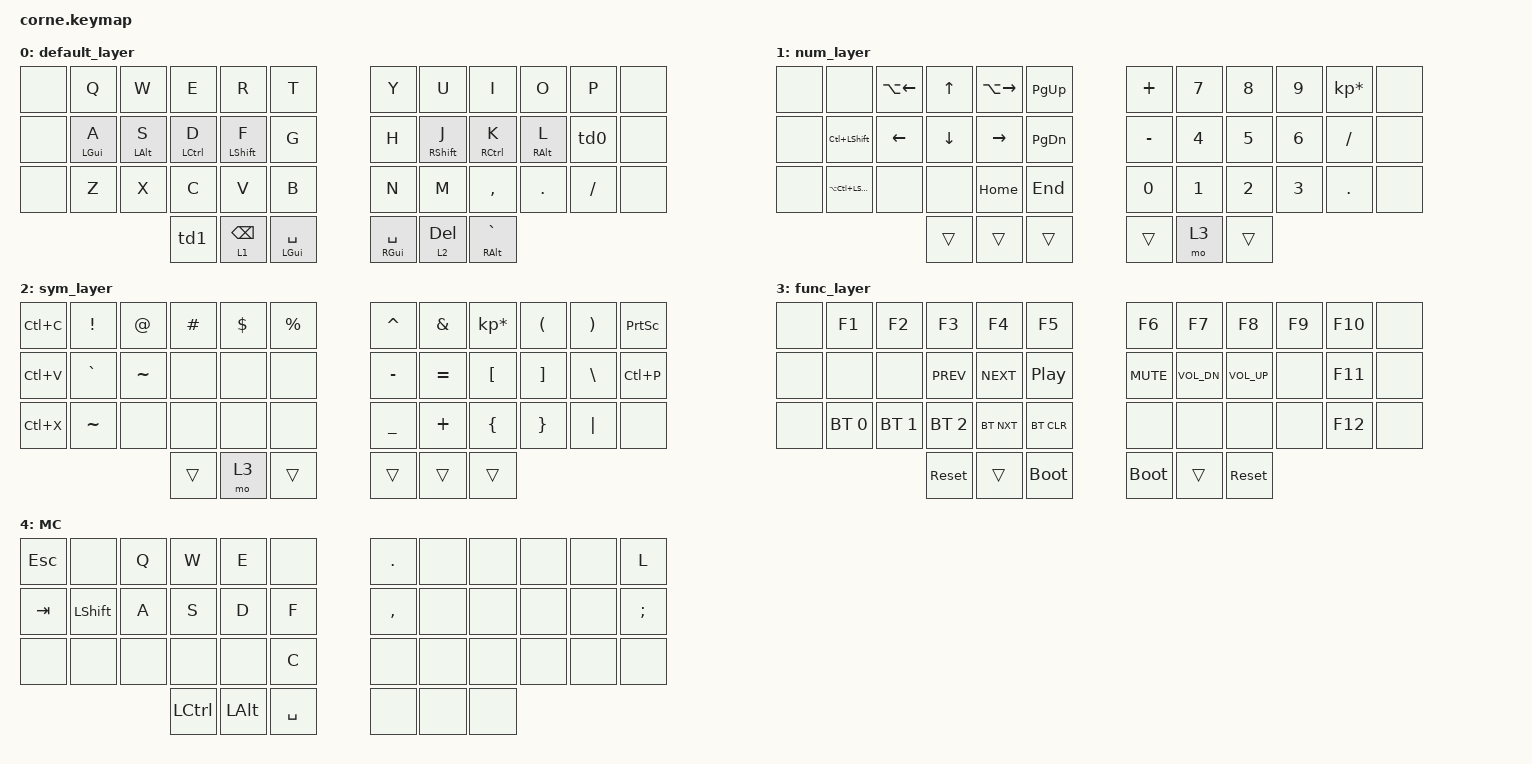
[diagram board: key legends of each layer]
/*
 * Copyright (c) 2020 The ZMK Contributors
 *
 * SPDX-License-Identifier: MIT
 */

#include <behaviors.dtsi>
#include <dt-bindings/zmk/bt.h>
#include <dt-bindings/zmk/keys.h>

// LAYERS

#define DEFAULT 0
#define NUM     1
#define SYM     2
#define FUNC    3

// MACROS

#define SUPER LC(LSHIFT)
#define SUPER2 LA(LC(LSHIFT))

&mt {
    tapping-term-ms = <200>;
    flavor = "tap-preferred";
};

/ {
    behaviors {
        hm: homerow_mods {
            compatible = "zmk,behavior-hold-tap";
            label = "HOMEROW_MODS";
            #binding-cells = <2>;
            tapping-term-ms = <200>;
            quick-tap-ms = <0>;
            flavor = "tap-preferred";
            bindings =
                <&kp>,
                <&kp>;
        };
        td0: tap_dance_0 {
            compatible = "zmk,behavior-tap-dance";
            label = "TAP_DANCE_0";
            #binding-cells = <0>;
            tapping-term-ms = <200>;
            bindings =
                <&hm RGUI SEMI>,
                <&kp SQT>;
        };
        td1: tap_dance_1 {
            compatible = "zmk,behavior-tap-dance";
            label = "TAP_DANCE_1";
            #binding-cells = <0>;
            tapping-term-ms = <200>;
            bindings =
                <&mt LCTRL TAB>,
                <&kp ESC>;
        };
    };

    combos {
        compatible = "zmk,combos";

        combo_cword {
            timeout-ms = <50>;
            key-positions = <16 19>;
            bindings = <&caps_word>;
        };

        combo_enter {
            bindings = <&kp ENTER>;
            key-positions = <38 39>;
        };

        new_combo {
            bindings = <&tog 4>;
            key-positions = <0 12 24>;
        };
    };

    macros {
        vim_quit: vim_quit {
            label = "ZM_vim_quit";
            compatible = "zmk,behavior-macro";
            #binding-cells = <0>;
            bindings =
                <&macro_tap>,
                <&kp ESC &kp COLON &kp W &kp Q>;
        };
    };

    keymap {
        compatible = "zmk,keymap";

        default_layer {
            bindings = <
&none       &kp Q       &kp W        &kp E         &kp R           &kp T             &kp Y         &kp U           &kp I       &kp O     &kp P  &none
&none  &hm LGUI A  &hm LALT S  &hm LCTRL D  &hm LSHIFT F           &kp G             &kp H  &hm RSHIFT J     &hm RCTRL K  &hm RALT L      &td0  &none
&none       &kp Z       &kp X        &kp C         &kp V           &kp B             &kp N         &kp M       &kp COMMA     &kp DOT  &kp FSLH  &none
                                      &td1    &lt 1 BSPC  &mt LGUI SPACE    &mt RGUI SPACE     &lt 2 DEL  &mt RALT GRAVE
            >;
        };

        num_layer {
            bindings = <
&none       &none  &kp LA(LEFT)    &kp UP  &kp LA(RIGHT)  &kp PG_UP     &kp PLUS  &kp N7  &kp N8  &kp N9  &kp KP_MULTIPLY  &none
&none   &kp SUPER      &kp LEFT  &kp DOWN      &kp RIGHT  &kp PG_DN    &kp MINUS  &kp N4  &kp N5  &kp N6        &kp SLASH  &none
&none  &kp SUPER2         &none     &none       &kp HOME    &kp END       &kp N0  &kp N1  &kp N2  &kp N3          &kp DOT  &none
                                   &trans         &trans     &trans       &trans   &mo 3  &trans
            >;
        };

        sym_layer {
            bindings = <
&kp LC(C)   &kp EXCL     &kp AT  &kp HASH  &kp DLLR  &kp PRCNT    &kp CARET   &kp AMPS  &kp KP_MULTIPLY  &kp LPAR  &kp RPAR  &kp PRINTSCREEN
&kp LC(V)  &kp GRAVE  &kp TILDE     &none     &none      &none    &kp MINUS  &kp EQUAL         &kp LBKT  &kp RBKT  &kp BSLH        &kp LC(P)
&kp LC(X)  &kp TILDE      &none     &none     &none      &none    &kp UNDER   &kp PLUS         &kp LBRC  &kp RBRC  &kp PIPE            &none
                                   &trans     &mo 3     &trans       &trans     &trans           &trans
            >;
        };

        func_layer {
            bindings = <
&none        &kp F1        &kp F2        &kp F3      &kp F4            &kp F5         &kp F6        &kp F7        &kp F8  &kp F9  &kp F10  &none
&none         &none         &none    &kp C_PREV  &kp C_NEXT  &kp C_PLAY_PAUSE     &kp C_MUTE  &kp C_VOL_DN  &kp C_VOL_UP   &none  &kp F11  &none
&none  &bt BT_SEL 0  &bt BT_SEL 1  &bt BT_SEL 2  &bt BT_NXT        &bt BT_CLR          &none         &none         &none   &none  &kp F12  &none
                                     &sys_reset      &trans       &bootloader    &bootloader        &trans    &sys_reset
            >;
        };

        Minecraft {
            bindings = <
&kp ESC           &none  &kp Q             &kp W         &kp E      &none      &kp DOT  &none  &none  &none  &none          &kp L
&kp TAB  &kp LEFT_SHIFT  &kp A             &kp S         &kp D      &kp F    &kp COMMA  &none  &none  &none  &none  &kp SEMICOLON
  &none           &none  &none             &none         &none      &kp C        &none  &none  &none  &none  &none          &none
                                &kp LEFT_CONTROL  &kp LEFT_ALT  &kp SPACE        &none  &none  &none
            >;

            label = "MC";
        };
    };
};
